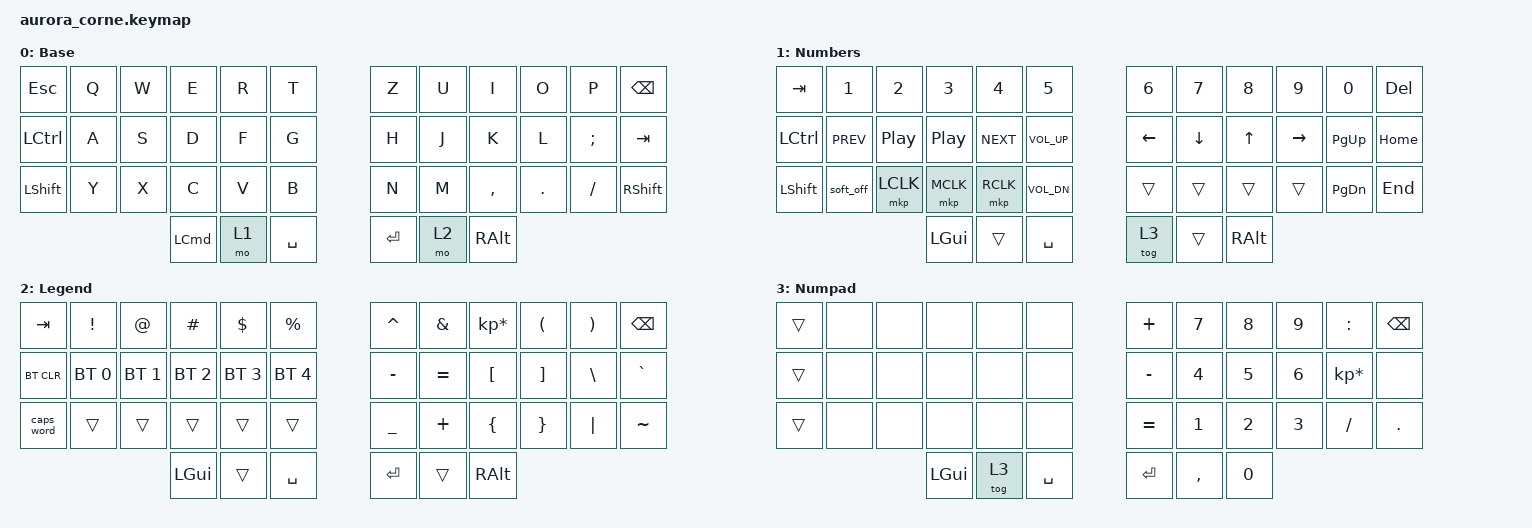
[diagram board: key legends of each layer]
/*
 * Copyright (c) 2020 The ZMK Contributors
 *
 * SPDX-License-Identifier: MIT
 */

#include <behaviors.dtsi>
#include <dt-bindings/zmk/keys.h>
#include <dt-bindings/zmk/bt.h>

&nice_view_spi {
    cs-gpios = <&pro_micro 0 GPIO_ACTIVE_HIGH>;
};


/{keymap{
    compatible = "zmk,keymap";
        default_layer{display-name = "Base";
        // -----------------------------------------------------------------------------------------
        //     |  ESC |  Q  |  W  |  E  |  R  |  T  |            |  Z  |  U   |  I      |  O   |  P      | BKSP   |
        //     | CTRL |  A  |  S  |  D  |  F  |  G  |            |  H  |  J   |  K      |  L   |  ;      |  TAB   |
        //     | SHFT |  Y  |  X  |  C  |  V  |  B  |            |  N  |  M   |  ,      |  .   |  /      | RSHFT  |
        //                        | GUI | LWR | SPC |            | ENT | RSE  | ALT |
            bindings = <
               &kp ESC   &kp Q &kp W &kp E &kp R &kp T           &kp Z &kp U  &kp I     &kp O   &kp P    &kp BSPC
               &kp LCTRL &kp A &kp S &kp D &kp F &kp G           &kp H &kp J  &kp K     &kp L   &kp SEMI &kp TAB
               &kp LSHFT &kp Y &kp X &kp C &kp V &kp B           &kp N &kp M  &kp COMMA &kp DOT &kp FSLH &kp RSHFT 
                                      &kp LCMD &mo 1 &kp SPACE   &kp RET &mo 2 &kp RALT
            >;
        };
        lower_layer {display-name = "Numbers";
        // -----------------------------------------------------------------------------------------
        //     |  TAB     |  1      |  2      |  3      |  4      |  5          |       |  6      |  7      |  8      |  9      |  0      |  DEL  |
        //     | CTRL     | C_PREV  | C_PP    | C_PP    | C_NEXT  | C_VOL_UP    |       | LFT     | DWN     |  UP     | RGT     |  PG_UP  |       |
        //     | SHFT     | S_OFF   |  LCLK   |  MCLK   |  RCLK   |   C_VOL_DN  |       | MV_LFT  | MV_DWN  |  MV_UP  | MV_RGT  |  PG_DN  | TOG3  |
        //                                    | GUI     |         | SPC         |       | ENT     |         | ALT     |
            bindings = <
               &kp TAB   &kp N1      &kp N2    &kp N3    &kp N4     &kp N5                &kp N6    &kp N7    &kp N8     &kp N9    &kp N0     &kp DEL
               &kp LCTRL &kp C_PREV  &kp C_PP  &kp C_PP  &kp C_NEXT &kp C_VOL_UP          &kp LEFT  &kp DOWN  &kp UP     &kp RIGHT &kp PG_UP  &kp HOME
               &kp LSHFT &soft_off   &mkp LCLK &mkp MCLK &mkp RCLK  &kp C_VOL_DN          &trans    &trans    &trans     &trans    &kp PG_DN &kp END
                                  	          &kp LGUI &trans     &kp SPACE             &tog 3   &trans    &kp RALT
            >;
        };
        
        raise_layer {display-name = "Legend";
        // -----------------------------------------------------------------------------------------
        //     |  TAB     |  !          |  @      |  #          |  $          |  %      |       |    ^    |    &   |      *        |    (    |    )   | BKSP |
        //     | BTCLR    | BT1         | BT2     | BT3         | BT4         | BT5     |       |    -         =   |      [        |    ]    |  \     |  `   |
        //     | CAPS_WORD|             |         |             |             |         |       |    _    |    +   |      {        |    }    |   "|"  |  ~   |
        //                                        | GUI         |             | SPC     |       |   ENT   |         |    ALT       |
            bindings = <
               &kp TAB    &kp EXCL     &kp AT       &kp HASH     &kp DLLR     &kp PRCNT         &kp CARET &kp AMPS  &kp KP_MULTIPLY &kp LPAR &kp RPAR &kp BSPC
               &bt BT_CLR &bt BT_SEL 0 &bt BT_SEL 1 &bt BT_SEL 2 &bt BT_SEL 3 &bt BT_SEL 4      &kp MINUS &kp EQUAL &kp LBKT        &kp RBKT &kp BSLH &kp GRAVE
               &caps_word &trans       &trans       &trans       &trans       &trans            &kp UNDER &kp PLUS  &kp LBRC        &kp RBRC &kp PIPE &kp TILDE
                            	                   &kp LGUI      &trans       &kp SPACE         &kp RET   &trans    &kp RALT
            >;
        };
        numpad_layer {display-name = "Numpad";
        // -----------------------------------------------------------------------------------------
        // |     |     |     |     |     |     |     |    +    |   7    |    8    |    9    |    :    | BKSP |
        // |     |     |     |     |     |     |     |    -    |   4    |    5    |    6    |    *    |      |
        // |     |     |     |     |     |     |     |    =    |   1    |    2    |    3    |    /    |  .   |
        //                   | GUI | TOG3| SPC |     |   ENT   |   ,    |    0    |
                                bindings = <
            &trans &none &none &none &none &none      &kp PLUS  &kp N7   &kp N8    &kp N9   &kp COLON &kp BSPC
            &trans &none &none &none &none &none      &kp MINUS &kp N4   &kp N5    &kp N6   &kp KP_MULTIPLY &none
            &trans &none &none &none &none &none      &kp EQUAL &kp N1   &kp N2    &kp N3   &kp FSLH  &kp DOT
                             &kp LGUI &tog 3 &kp SPACE &kp RET  &kp COMMA &kp N0
                >;
        };
    };
};
